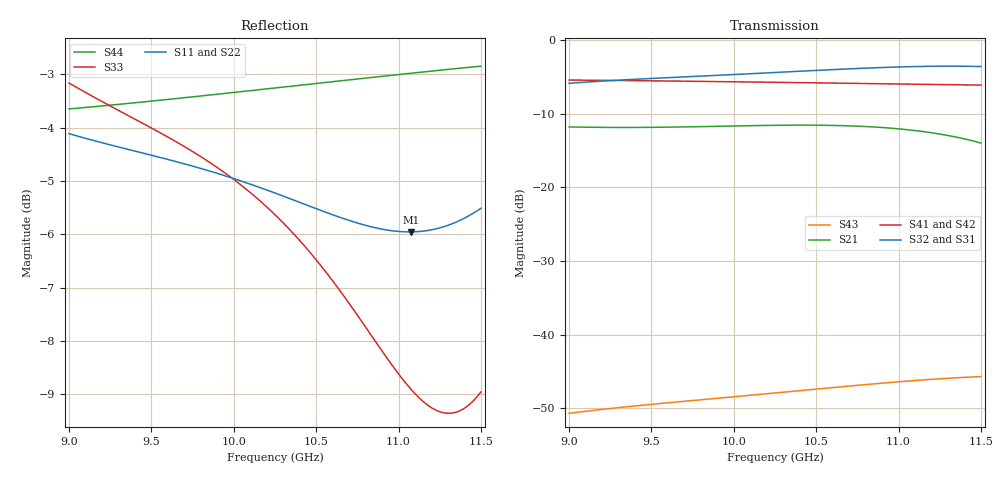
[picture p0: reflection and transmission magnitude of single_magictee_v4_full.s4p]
! Generated from PyAEDT SolutionData; AEDT ExportNetworkData workaround
# GHz S MA R 50
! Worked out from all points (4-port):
!   101 points, 9 GHz to 11.5 GHz, reference 50 ohm
!   strongest paths, dB at 9 GHz, 9.625 GHz, 10.25 GHz, 10.88 GHz, 11.5 GHz:
!     S32: -5.8, -5.0, -4.4, -3.7, -3.6
!     S31: -5.9, -5.1, -4.4, -3.8, -3.6
!     S41: -5.4, -5.5, -5.7, -5.9, -6.1
!     S42: -5.5, -5.7, -5.9, -6.1, -6.3
!     S21: -11.8, -11.8, -11.5, -11.8, -14.0
!     S43: -50.7, -49.2, -47.9, -46.6, -45.7
!   lowest |S11| = -6.0 dB at 11.07 GHz (marker M1), VSWR 3.03, Z = 16.7 + j5.07 ohm
!   |S11| at or under -10 dB: nowhere
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9  0.6226 31.2  0.2579 -54.7  0.5069 1.4  0.5374 37.6
   0.2579 -54.7  0.6268 30.4  0.5107 1.4  0.5289 -142.3
   0.5069 1.4  0.5107 1.4  0.6944 173.7  0.002919 59.0
   0.5374 37.6  0.5289 -142.3  0.002919 59.0  0.6568 -158.5
9.4  0.5996 -16.6  0.256 -109.9  0.54 -69.4  0.5323 -6.2
     0.256 -109.9  0.6042 -17.5  0.5439 -69.4  0.5231 174.0
     0.54 -69.4  0.5439 -69.4  0.6424 81.7  0.003274 -16.2
     0.5323 -6.2  0.5231 174.0  0.003274 -16.2  0.6656 162.2
9.725  0.5819 -54.1  0.2584 -153.2  0.5625 -124.7  0.5275 -40.7
       0.2584 -153.2  0.5867 -55.0  0.5664 -124.7  0.5178 139.6
       0.5625 -124.7  0.5664 -124.7  0.6023 10.2  0.003544 -74.8
       0.5275 -40.7  0.5178 139.6  0.003544 -74.8  0.6735 131.1
10.075  0.5601 -93.2  0.2628 160.6  0.5874 177.2  0.5218 -77.0
        0.2628 160.6  0.5649 -94.0  0.5915 177.2  0.5118 103.4
        0.5874 177.2  0.5915 177.2  0.5524 -64.7  0.003849 -136.2
        0.5218 -77.0  0.5118 103.4  0.003849 -136.2  0.6825 98.3
10.575  0.5244 -145.7  0.2644 94.4  0.6261 95.3  0.513 -127.4
        0.2644 94.4  0.5289 -146.5  0.6307 95.2  0.5026 52.9
        0.6261 95.3  0.6307 95.2  0.4585 -173.2  0.004339 137.6
        0.513 -127.4  0.5026 52.9  0.004339 137.6  0.6959 52.3
11.075  0.5037 167.0  0.2456 27.7  0.6573 12.5  0.5039 -176.8
        0.2456 27.7  0.5075 166.3  0.6628 12.5  0.4929 3.6
        0.6573 12.5  0.6628 12.5  0.3587 65.1  0.004853 51.0
        0.5039 -176.8  0.4929 3.6  0.004853 51.0  0.7093 7.0
11.5  0.5299 129.2  0.2005 -27.8  0.6574 -59.4  0.4967 141.9
      0.2005 -27.8  0.5336 128.6  0.6638 -59.5  0.4842 -37.9
      0.6574 -59.4  0.6638 -59.5  0.3566 -55.0  0.005184 -24.9
      0.4967 141.9  0.4842 -37.9  0.005184 -24.9  0.7203 -31.2
